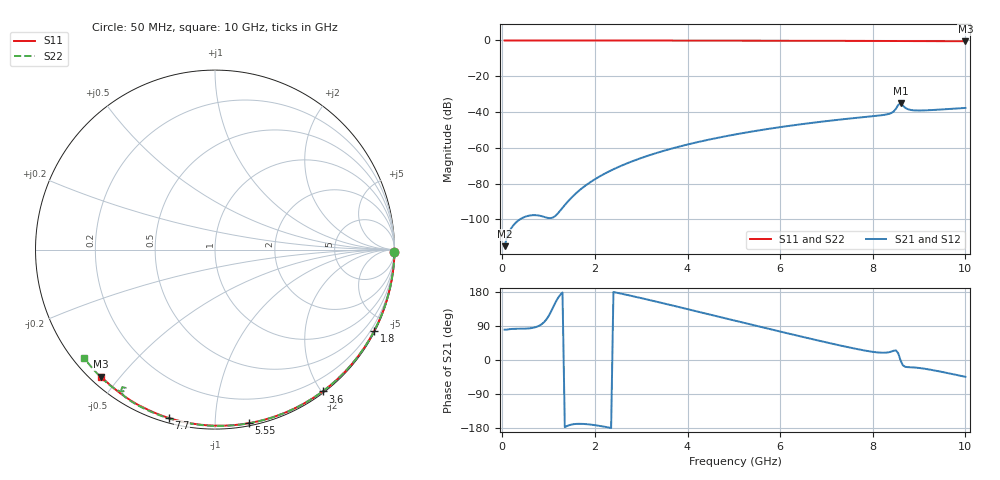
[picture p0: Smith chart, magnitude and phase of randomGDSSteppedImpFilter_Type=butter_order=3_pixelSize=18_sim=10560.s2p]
! freq	dB(S11)	phase(S11)	dB(S12)	phase(S12)
!  dB(S21)	phase(S21)	dB(S22)	phase(S22)
!S-par simulation data
#  GHz  S  DB  R 50
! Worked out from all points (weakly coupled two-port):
!   200 points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, 50 MHz to 10 GHz, reference 50 ohm
!   highest |S21| = -35.23 dB at 8.6 GHz (marker M1); lowest = -115.0 dB at 50 MHz (marker M2)
!   lowest |S11| = -0.4 dB at 10 GHz (marker M3), VSWR 39.19, Z = 1.53 - j22.3 ohm
!   |S11| at or under -10 dB: nowhere
!   |S22| runs from -0.7 to 0.0 dB; largest |S21 - S12| = 0
!   S11 on the Smith chart (normalised r, x): 50 MHz: open; 1.8 GHz: 0.04, -4.16; 3.6 GHz: 0.02, -2.01; 5.55 GHz: 0.02, -1.21; 7.7 GHz: 0.02, -0.76; 10 GHz: 0.03, -0.45
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0.05  -0.00 -0.8  -115.04 80.1  -115.04 80.1  -0.00 -0.8
0.9  -0.02 -13.6  -98.64 99.6  -98.64 99.6  -0.02 -14.6
1.75  -0.03 -26.3  -82.05 -168.7  -82.05 -168.7  -0.04 -28.1
1.8  -0.03 -27.0  -81.08 -169.1  -81.08 -169.1  -0.04 -28.9
1.85  -0.04 -27.8  -80.16 -169.6  -80.16 -169.6  -0.04 -29.7
2.2  -0.04 -32.9  -74.65 -175.9  -74.65 -175.9  -0.04 -35.1
2.55  -0.05 -38.0  -70.28 175.6  -70.28 175.6  -0.05 -40.6
2.95  -0.06 -43.7  -66.19 164.7  -66.19 164.7  -0.06 -46.7
3.4  -0.07 -50.0  -62.38 151.9  -62.38 151.9  -0.07 -53.4
3.6  -0.07 -52.8  -60.88 146.1  -60.88 146.1  -0.08 -56.4
4.3  -0.09 -62.4  -56.37 125.4  -56.37 125.4  -0.09 -66.6
5.05  -0.11 -72.4  -52.46 103.1  -52.46 103.1  -0.12 -77.2
5.55  -0.13 -78.9  -50.25 88.3  -50.25 88.3  -0.14 -84.1
6.7  -0.18 -93.3  -46.03 54.9  -46.03 54.9  -0.19 -99.4
7.7  -0.24 -105.4  -43.13 27.9  -43.13 27.9  -0.26 -112.3
8.35  -0.29 -113.0  -41.07 20.5  -41.07 20.5  -0.33 -121.1
8.45  -0.30 -114.1  -39.74 24.4  -39.74 24.4  -0.40 -122.8
8.55  -0.31 -115.2  -36.02 17.8  -36.02 17.8  -0.69 -124.0
8.6  -0.30 -115.8  -35.23 -1.2  -35.23 -1.2  -0.75 -122.8
8.75  -0.32 -117.6  -38.36 -18.8  -38.36 -18.8  -0.43 -124.2
8.9  -0.33 -119.3  -39.10 -19.8  -39.10 -19.8  -0.39 -126.4
10  -0.44 -131.9  -37.73 -44.4  -37.73 -44.4  -0.48 -140.4
